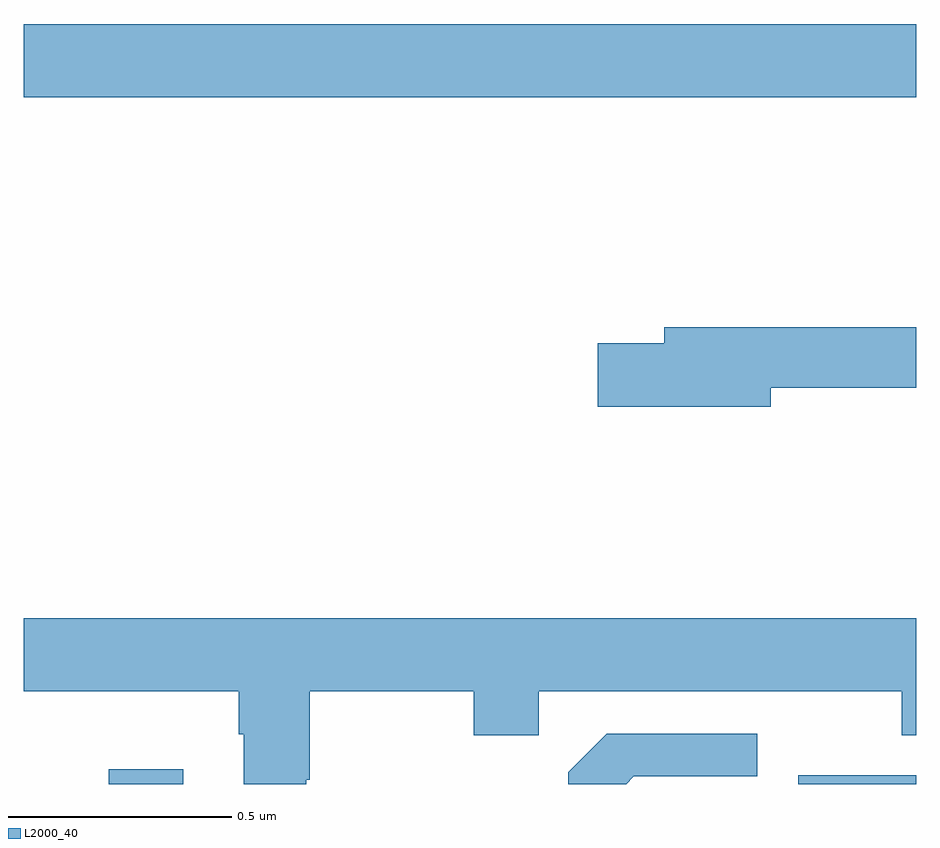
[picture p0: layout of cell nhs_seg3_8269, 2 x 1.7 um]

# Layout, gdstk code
import gdstk
lib = gdstk.Library(unit=1e-6, precision=1e-09)
def R(c, l, rs):  # rectangles x0, y0, x1, y1
    for r in rs: c.add(gdstk.rectangle(r[:2], r[2:], *l))
def P(c, l, *ps):  # polygons
    for p in ps: c.add(gdstk.Polygon(p, *l))
L2000_40 = (2000, 40)

nhs_seg3_8269 = lib.new_cell('nhs_seg3_8269')
R(nhs_seg3_8269, L2000_40, [(214.19,675.4,214.357,675.433), (215.736,675.4,216,675.42), (214,676.94,216,677.104)])
P(nhs_seg3_8269, L2000_40, [(215.674,676.288),(216,676.288),(216,676.424),(215.435,676.424),(215.435,676.388),(215.286,676.388),(215.286,676.246),(215.674,676.246)],
  [(214.633,675.409),(214.641,675.409),(214.641,675.608),(215.008,675.608),(215.008,675.509),(215.154,675.509),(215.154,675.608),(215.968,675.608),(215.968,675.509),(216,675.509),(216,675.772),(214,675.772),(214,675.608),(214.481,675.608),(214.481,675.512),(214.493,675.512),(214.493,675.4),(214.633,675.4)],
  [(215.367,675.417),(215.644,675.417),(215.644,675.513),(215.307,675.513),(215.22,675.426),(215.22,675.4),(215.35,675.4)])

lib.write_gds('nhs_seg3_8269.gds')
